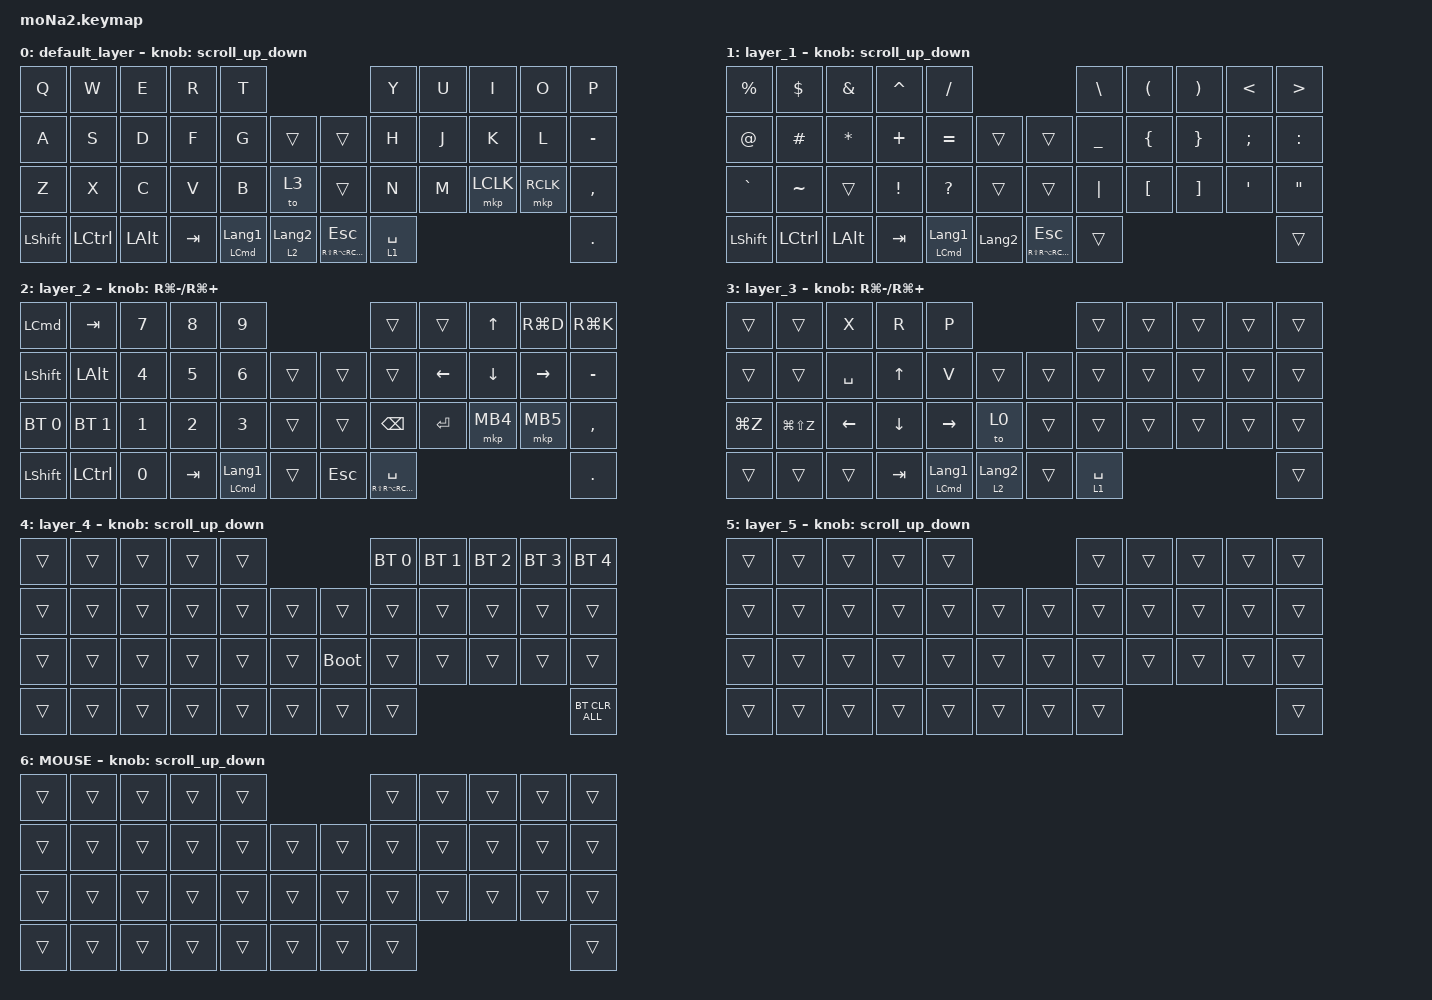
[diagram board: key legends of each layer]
#include <behaviors.dtsi>
#include <dt-bindings/zmk/bt.h>
#include <dt-bindings/zmk/keys.h>
#include <dt-bindings/zmk/pointing.h>

#define ZMK_POINTING_DEFAULT_SCRL_VAL 100
#define MOUSE 6

&mt {
    flavor = "balanced";
    quick-tap-ms = <0>;
};

/ {
    combos { compatible = "zmk,combos"; };

    macros {
        to_layer_0: to_layer_0 {
            compatible = "zmk,behavior-macro-one-param";
            #binding-cells = <1>;
            bindings = <&to 0 &macro_param_1to1 &kp MACRO_PLACEHOLDER>;
            label = "TO_LAYER_0";
        };
    };

    behaviors {
        lt_to_layer_0: lt_to_layer_0 {
            compatible = "zmk,behavior-hold-tap";
            label = "LAYER_TAP_TO_0";
            bindings = <&mo>, <&to_layer_0>;

            #binding-cells = <2>;
            tapping-term-ms = <200>;
        };

        scroll_up_down: behavior_sensor_rotate_mouse_wheel_up_down {
            compatible = "zmk,behavior-sensor-rotate";
            #sensor-binding-cells = <0>;
            bindings = <&msc SCRL_UP>, <&msc SCRL_DOWN>;

            tap-ms = <20>;
        };
    };

    keymap {
        compatible = "zmk,keymap";

        default_layer {
            bindings = <
&kp Q           &kp W             &kp E         &kp R    &kp T                                                                                  &kp Y        &kp U  &kp I      &kp O      &kp P
&kp A           &kp S             &kp D         &kp F    &kp G                        &trans              &trans                                &kp H        &kp J  &kp K      &kp L      &kp MINUS
&kp Z           &kp X             &kp C         &kp V    &kp B                        &to 3               &trans                                &kp N        &kp M  &mkp LCLK  &mkp RCLK  &kp COMMA
&kp LEFT_SHIFT  &kp LEFT_CONTROL  &kp LEFT_ALT  &kp TAB  &mt LEFT_COMMAND LANGUAGE_1  &lt 2 LANGUAGE_2    &mt RS(RA(RC(RIGHT_COMMAND))) ESCAPE  &lt 1 SPACE                               &kp PERIOD
            >;

            sensor-bindings = <&scroll_up_down>;
        };

        layer_1 {
            bindings = <
&kp PERCENT     &kp DOLLAR        &kp AMPERSAND  &kp CARET        &kp SLASH                                                                            &kp BACKSLASH   &kp LEFT_PARENTHESIS  &kp RIGHT_PARENTHESIS  &kp LESS_THAN     &kp GREATER_THAN
&kp AT_SIGN     &kp HASH          &kp ASTERISK   &kp PLUS         &kp EQUAL                    &trans            &trans                                &kp UNDERSCORE  &kp LEFT_BRACE        &kp RIGHT_BRACE        &kp SEMICOLON     &kp COLON
&kp GRAVE       &kp TILDE         &trans         &kp EXCLAMATION  &kp QUESTION                 &trans            &trans                                &kp PIPE        &kp LEFT_BRACKET      &kp RIGHT_BRACKET      &kp SINGLE_QUOTE  &kp DOUBLE_QUOTES
&kp LEFT_SHIFT  &kp LEFT_CONTROL  &kp LEFT_ALT   &kp TAB          &mt LEFT_COMMAND LANGUAGE_1  &kp LANGUAGE_2    &mt RS(RA(RC(RIGHT_COMMAND))) ESCAPE  &trans                                                                         &trans
            >;

            sensor-bindings = <&scroll_up_down>;
        };

        layer_2 {
            bindings = <
&kp LEFT_COMMAND  &kp TAB           &kp NUMBER_7  &kp NUMBER_8  &kp NUMBER_9                                       &trans                               &trans          &kp UP_ARROW    &kp RG(D)        &kp RG(K)
&kp LEFT_SHIFT    &kp LEFT_ALT      &kp NUMBER_4  &kp NUMBER_5  &kp NUMBER_6                 &trans    &trans      &trans                               &kp LEFT_ARROW  &kp DOWN_ARROW  &kp RIGHT_ARROW  &kp MINUS
&bt BT_SEL 0      &bt BT_SEL 1      &kp NUMBER_1  &kp NUMBER_2  &kp NUMBER_3                 &trans    &trans      &kp BACKSPACE                        &kp ENTER       &mkp MB4        &mkp MB5         &kp COMMA
&kp LEFT_SHIFT    &kp LEFT_CONTROL  &kp NUMBER_0  &kp TAB       &mt LEFT_COMMAND LANGUAGE_1  &trans    &kp ESCAPE  &mt RS(RA(RC(RIGHT_COMMAND))) SPACE                                                   &kp PERIOD
            >;

            sensor-bindings = <&inc_dec_kp RG(MINUS) RG(PLUS)>;
        };

        layer_3 {
            bindings = <
&trans     &trans         &kp X           &kp R           &kp P                                                    &trans       &trans  &trans  &trans  &trans
&trans     &trans         &kp SPACE       &kp UP_ARROW    &kp V                        &trans              &trans  &trans       &trans  &trans  &trans  &trans
&kp LG(Z)  &kp LG(LS(Z))  &kp LEFT_ARROW  &kp DOWN_ARROW  &kp RIGHT_ARROW              &to 0               &trans  &trans       &trans  &trans  &trans  &trans
&trans     &trans         &trans          &kp TAB         &mt LEFT_COMMAND LANGUAGE_1  &lt 2 LANGUAGE_2    &trans  &lt 1 SPACE                          &trans
            >;

            sensor-bindings = <&inc_dec_kp RG(MINUS) RG(PLUS)>;
        };

        layer_4 {
            bindings = <
&trans  &trans  &trans  &trans  &trans                         &bt BT_SEL 0  &bt BT_SEL 1  &bt BT_SEL 2  &bt BT_SEL 3  &bt BT_SEL 4
&trans  &trans  &trans  &trans  &trans  &trans    &trans       &trans        &trans        &trans        &trans        &trans
&trans  &trans  &trans  &trans  &trans  &trans    &bootloader  &trans        &trans        &trans        &trans        &trans
&trans  &trans  &trans  &trans  &trans  &trans    &trans       &trans                                                  &bt BT_CLR_ALL
            >;

            sensor-bindings = <&scroll_up_down>;
        };

        layer_5 {
            bindings = <
&trans  &trans  &trans  &trans  &trans                    &trans  &trans  &trans  &trans  &trans
&trans  &trans  &trans  &trans  &trans  &trans    &trans  &trans  &trans  &trans  &trans  &trans
&trans  &trans  &trans  &trans  &trans  &trans    &trans  &trans  &trans  &trans  &trans  &trans
&trans  &trans  &trans  &trans  &trans  &trans    &trans  &trans                          &trans
            >;

            sensor-bindings = <&scroll_up_down>;
        };

        MOUSE {
            bindings = <
&trans  &trans  &trans  &trans  &trans                    &trans  &trans  &trans  &trans  &trans
&trans  &trans  &trans  &trans  &trans  &trans    &trans  &trans  &trans  &trans  &trans  &trans
&trans  &trans  &trans  &trans  &trans  &trans    &trans  &trans  &trans  &trans  &trans  &trans
&trans  &trans  &trans  &trans  &trans  &trans    &trans  &trans                          &trans
            >;

            sensor-bindings = <&scroll_up_down>;
        };
    };
};
